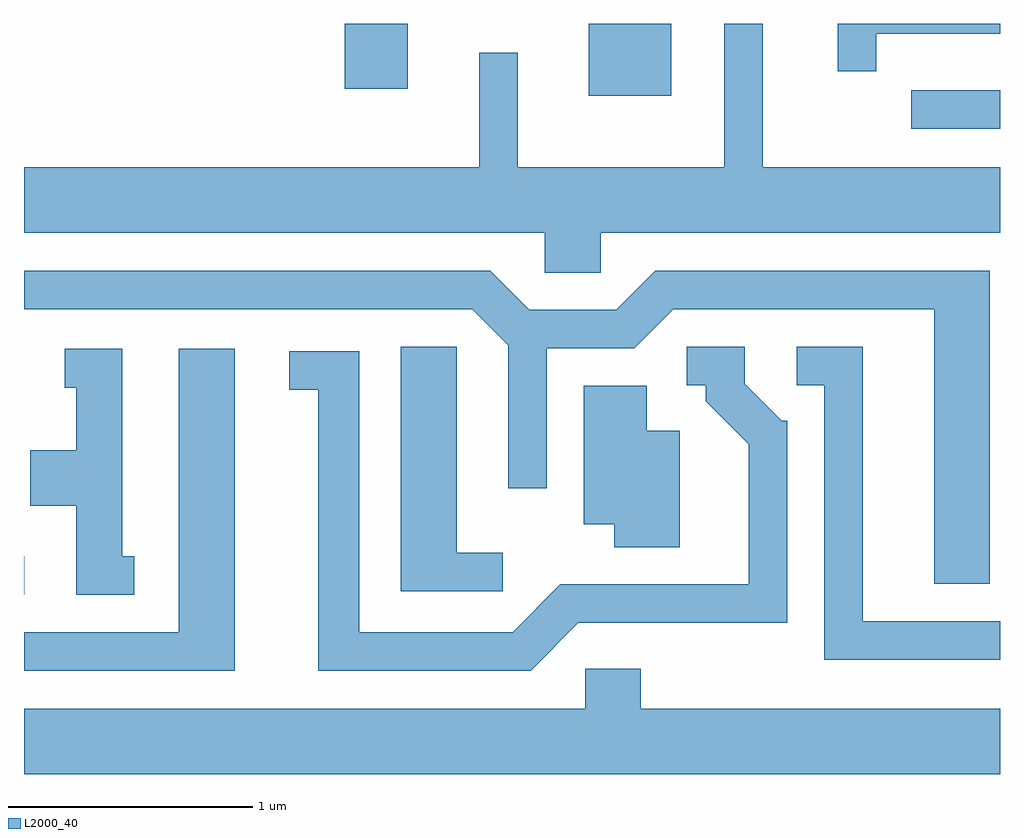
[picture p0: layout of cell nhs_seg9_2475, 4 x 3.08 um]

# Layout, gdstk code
import gdstk
lib = gdstk.Library(unit=1e-6, precision=1e-09)
def R(c, l, rs):  # rectangles x0, y0, x1, y1
    for r in rs: c.add(gdstk.rectangle(r[:2], r[2:], *l))
def P(c, l, *ps):  # polygons
    for p in ps: c.add(gdstk.Polygon(p, *l))
L2000_40 = (2000, 40)

nhs_seg9_2475 = lib.new_cell('nhs_seg9_2475')
R(nhs_seg9_2475, L2000_40, [(257.611,2008.091,257.613,2008.249), (261.248,2010.001,261.611,2010.159), (259.926,2010.136,260.264,2010.432), (258.926,2010.166,259.184,2010.432)])
P(nhs_seg9_2475, L2000_40, [(261.104,2010.391),(261.611,2010.391),(261.611,2010.432),(260.946,2010.432),(260.946,2010.238),(261.104,2010.238)],
  [(259.974,2009.576),(261.611,2009.576),(261.611,2009.844),(260.639,2009.844),(260.639,2010.432),(260.481,2010.432),(260.481,2009.844),(259.634,2009.844),(259.634,2010.313),(259.476,2010.313),(259.476,2009.844),(257.611,2009.844),(257.611,2009.576),(259.746,2009.576),(259.746,2009.411),(259.974,2009.411)],
  [(261.569,2009.419),(260.199,2009.419),(260.039,2009.259),(259.682,2009.259),(259.522,2009.419),(257.611,2009.419),(257.611,2009.261),(259.449,2009.261),(259.596,2009.114),(259.596,2008.528),(259.754,2008.528),(259.754,2009.101),(260.111,2009.101),(260.272,2009.261),(261.341,2009.261),(261.341,2008.136),(261.569,2008.136)],
  [(259.882,2007.976),(260.739,2007.976),(260.739,2008.804),(260.717,2008.804),(260.564,2008.957),(260.564,2009.109),(260.328,2009.109),(260.328,2008.951),(260.406,2008.951),(260.406,2008.884),(260.581,2008.709),(260.581,2008.134),(259.808,2008.134),(259.614,2007.939),(258.984,2007.939),(258.984,2009.089),(258.698,2009.089),(258.698,2008.931),(258.816,2008.931),(258.816,2007.781),(259.687,2007.781)],
  [(259.573,2008.264),(259.384,2008.264),(259.384,2009.109),(259.156,2009.109),(259.156,2008.106),(259.573,2008.106)],
  [(261.611,2007.984),(261.049,2007.984),(261.049,2009.109),(260.778,2009.109),(260.778,2008.951),(260.891,2008.951),(260.891,2007.826),(261.611,2007.826)],
  [(258.474,2009.099),(258.246,2009.099),(258.246,2007.939),(257.611,2007.939),(257.611,2007.781),(258.474,2007.781)],
  [(258.063,2008.249),(258.014,2008.249),(258.014,2009.099),(257.778,2009.099),(257.778,2008.941),(257.826,2008.941),(257.826,2008.684),(257.636,2008.684),(257.636,2008.456),(257.826,2008.456),(257.826,2008.091),(258.063,2008.091)],
  [(260.299,2008.764),(260.164,2008.764),(260.164,2008.949),(259.906,2008.949),(259.906,2008.381),(260.031,2008.381),(260.031,2008.286),(260.299,2008.286)],
  [(261.611,2007.624),(260.139,2007.624),(260.139,2007.789),(259.911,2007.789),(259.911,2007.624),(257.611,2007.624),(257.611,2007.356),(261.611,2007.356)])

lib.write_gds('nhs_seg9_2475.gds')
